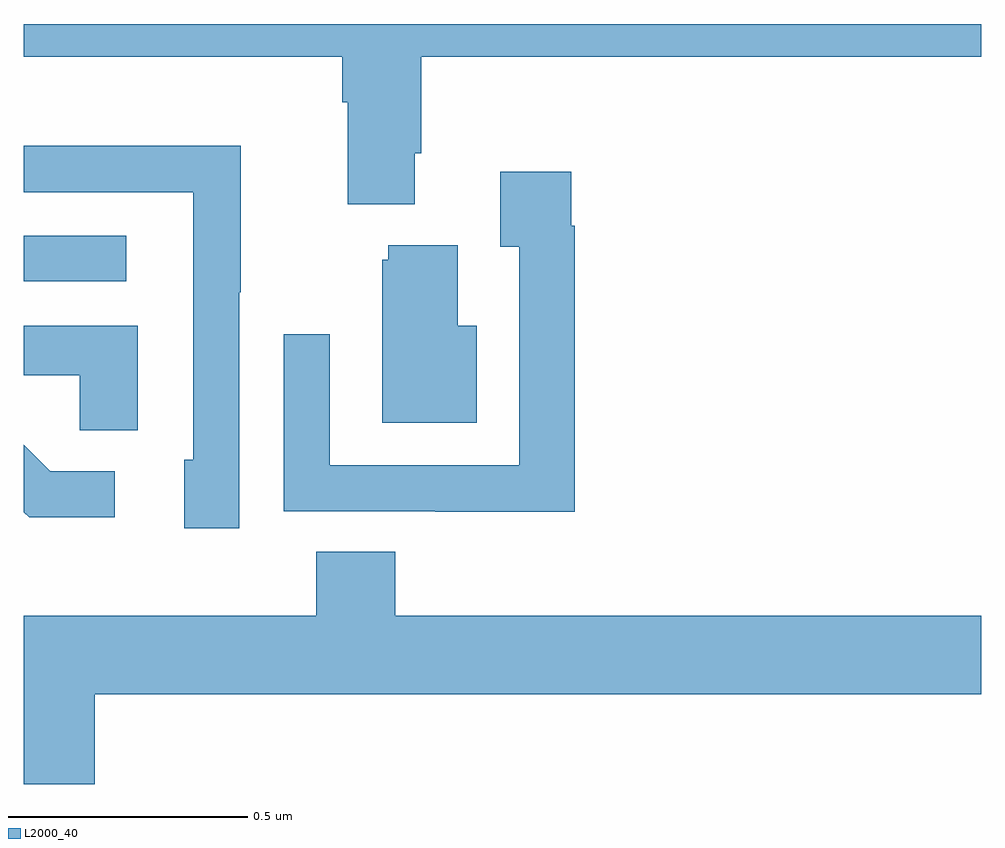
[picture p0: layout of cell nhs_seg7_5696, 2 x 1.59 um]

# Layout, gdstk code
import gdstk
lib = gdstk.Library(unit=1e-6, precision=1e-09)
def R(c, l, rs):  # rectangles x0, y0, x1, y1
    for r in rs: c.add(gdstk.rectangle(r[:2], r[2:], *l))
def P(c, l, *ps):  # polygons
    for p in ps: c.add(gdstk.Polygon(p, *l))
L2000_40 = (2000, 40)

nhs_seg7_5696 = lib.new_cell('nhs_seg7_5696')
R(nhs_seg7_5696, L2000_40, [(189,1017.462,189.214,1017.558)])
P(nhs_seg7_5696, L2000_40, [(189.817,1017.73),(189.83,1017.73),(189.83,1017.932),(191,1017.932),(191,1018),(189,1018),(189,1017.932),(189.665,1017.932),(189.665,1017.836),(189.677,1017.836),(189.677,1017.623),(189.817,1017.623)],
  [(189.45,1017.439),(189.453,1017.439),(189.453,1017.746),(189,1017.746),(189,1017.648),(189.354,1017.648),(189.354,1017.09),(189.335,1017.09),(189.335,1016.946),(189.45,1016.946)],
  [(190.151,1017.578),(190.144,1017.578),(190.144,1017.691),(189.995,1017.691),(189.995,1017.535),(190.035,1017.535),(190.035,1017.078),(189.639,1017.078),(189.639,1017.352),(189.543,1017.352),(189.543,1016.982),(189.859,1016.982),(189.859,1016.981),(190.151,1016.981)],
  [(189.946,1017.37),(189.907,1017.37),(189.907,1017.538),(189.761,1017.538),(189.761,1017.507),(189.749,1017.507),(189.749,1017.167),(189.946,1017.167)],
  [(189.238,1017.37),(189,1017.37),(189,1017.266),(189.117,1017.266),(189.117,1017.151),(189.238,1017.151)],
  [(189.19,1017.066),(189.055,1017.066),(189,1017.121),(189,1016.98),(189.011,1016.969),(189.19,1016.969)],
  [(189.148,1016.6),(191,1016.6),(191,1016.764),(189.776,1016.764),(189.776,1016.897),(189.611,1016.897),(189.611,1016.764),(189,1016.764),(189,1016.412),(189.148,1016.412)])

lib.write_gds('nhs_seg7_5696.gds')
